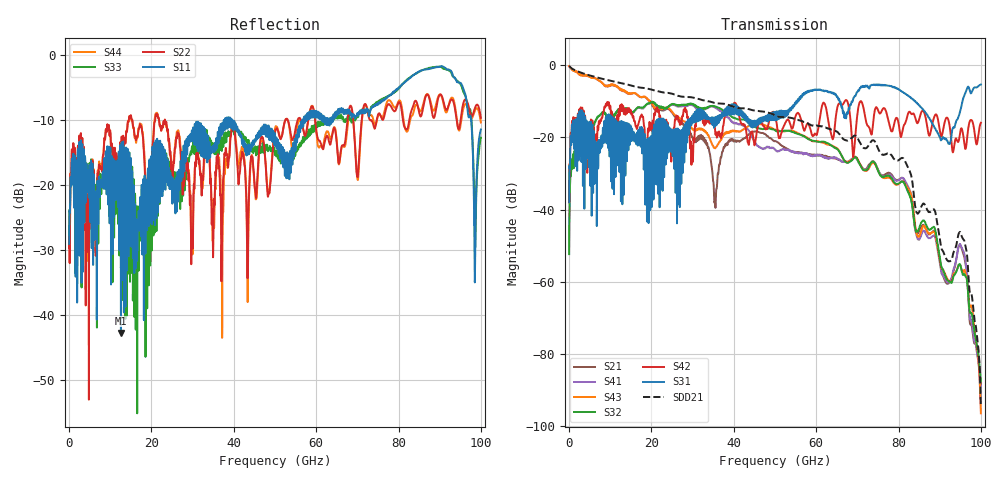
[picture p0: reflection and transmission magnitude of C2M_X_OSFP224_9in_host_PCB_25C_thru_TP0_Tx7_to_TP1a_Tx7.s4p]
# GHz S RI R 45
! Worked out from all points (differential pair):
!   4000 points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, 25 MHz to 100 GHz, reference 45 ohm
!   strongest paths, dB at 25 MHz, 25.02 GHz, 50.02 GHz, 75.03 GHz, 100 GHz:
!     S31: -38.0, -18.5, -13.0, -5.3, -5.3
!     S42: -37.9, -22.2, -13.8, -12.5, -15.9
!     S32: -52.3, -10.8, -18.0, -29.2, -87.4
!     S43: -0.3, -12.9, -17.8, -29.2, -96.4
!     S41: -52.3, -11.0, -23.3, -29.0, -88.7
!     S21: -0.3, -13.1, -21.0, -28.9, -88.0
!   taken as a pair (ports 3,1 in; 4,2 out), SDD21 dB: -0.3, -7.9, -13.9, -23.0, -93.3
!   lowest |S11| = -42.7 dB at 12.6 GHz (marker M1), VSWR 1.01, Z = 44.6 - j0.477 ohm
!   |S11| at or under -10 dB: start of sweep to 37.89 GHz; 39.45 GHz to 56.65 GHz (17.2 GHz wide, 35.8 % of centre); 97.62 GHz to end of sweep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
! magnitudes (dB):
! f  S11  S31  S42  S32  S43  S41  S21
! 25 MHz  -29.0  -38.0  -37.9  -52.3  -0.3  -52.3  -0.3
! 2.4 GHz  -19.4  -17.1  -15.0  -19.5  -2.2  -19.5  -2.3
! 12.6 GHz  -42.7  -37.7  -12.7  -12.2  -6.6  -12.3  -6.6
! 35.48 GHz  -13.7  -15.7  -18.1  -11.4  -23.0  -11.7  -38.3
! 81.12 GHz  -4.5  -7.5  -17.2  -32.3  -32.1  -31.2  -31.3
! 95.47 GHz  -4.7  -10.2  -18.0  -57.6  -57.2  -50.9  -51.2
! 100 GHz  -11.5  -5.3  -15.9  -87.4  -96.4  -88.7  -88.0
